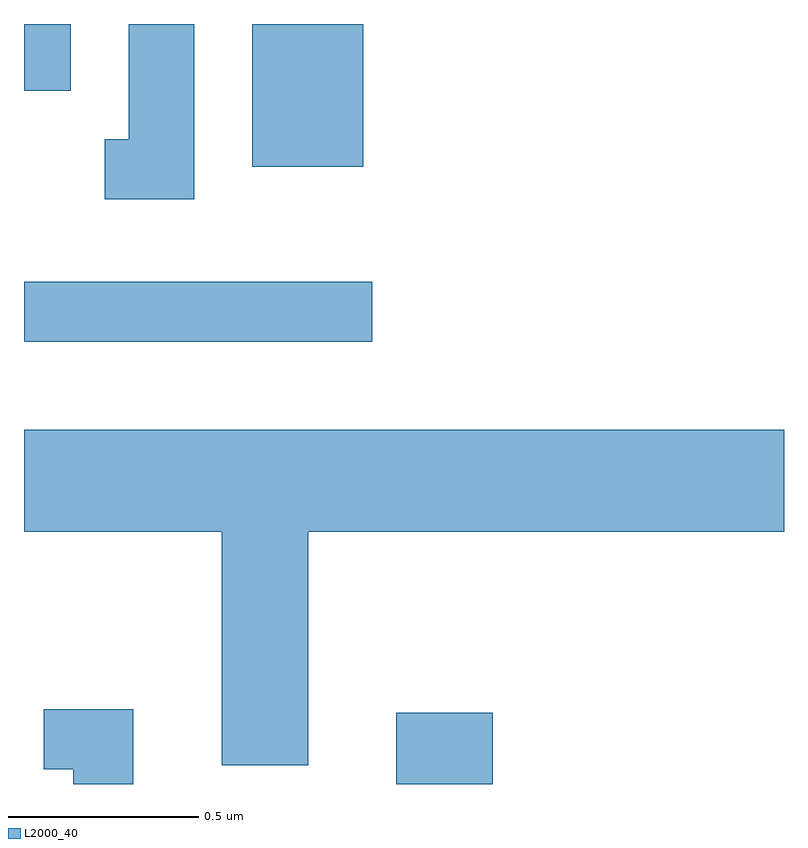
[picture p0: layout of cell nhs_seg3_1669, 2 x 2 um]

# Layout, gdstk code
import gdstk
lib = gdstk.Library(unit=1e-6, precision=1e-09)
def R(c, l, rs):  # rectangles x0, y0, x1, y1
    for r in rs: c.add(gdstk.rectangle(r[:2], r[2:], *l))
def P(c, l, *ps):  # polygons
    for p in ps: c.add(gdstk.Polygon(p, *l))
L2000_40 = (2000, 40)

nhs_seg3_1669 = lib.new_cell('nhs_seg3_1669')
R(nhs_seg3_1669, L2000_40, [(198.591,1140.892,198.844,1141.079), (197.611,1142.056,198.528,1142.214), (198.211,1142.516,198.504,1142.892), (197.611,1142.716,197.734,1142.892)])
P(nhs_seg3_1669, L2000_40, [(198.059,1142.892),(197.886,1142.892),(197.886,1142.589),(197.823,1142.589),(197.823,1142.431),(198.059,1142.431)],
  [(198.359,1141.556),(199.611,1141.556),(199.611,1141.824),(197.611,1141.824),(197.611,1141.556),(198.131,1141.556),(198.131,1140.941),(198.359,1140.941)],
  [(197.899,1141.089),(197.663,1141.089),(197.663,1140.931),(197.741,1140.931),(197.741,1140.892),(197.899,1140.892)])

lib.write_gds('nhs_seg3_1669.gds')
